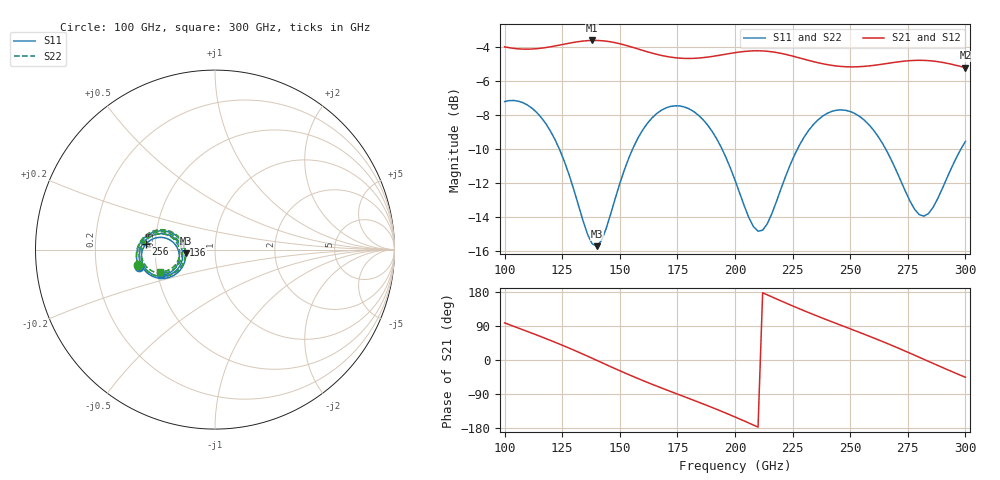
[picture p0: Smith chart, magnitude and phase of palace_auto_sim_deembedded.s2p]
! Created with skrf 1.11.0 (http://scikit-rf.org).
# GHz S DB R 50.0
!freq dBS11 angS11 dBS21 angS21 dBS12 angS12 dBS22 angS22
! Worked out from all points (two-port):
!   101 points, 100 GHz to 300 GHz, reference 50 ohm
!   highest |S21| = -3.61 dB at 138 GHz (marker M1); lowest = -5.2 dB at 300 GHz (marker M2)
!   |S21| within 3 dB of the highest: start of sweep to end of sweep
!   lowest |S11| = -15.7 dB at 140 GHz (marker M3), VSWR 1.39, Z = 36 - j1.56 ohm
!   |S11| at or under -10 dB: 123.8 GHz to 155.5 GHz (31.75 GHz wide, 22.7 % of centre); 194.4 GHz to 227.1 GHz (32.68 GHz wide, 15.5 % of centre); 265.4 GHz to 298 GHz (32.57 GHz wide, 11.6 % of centre)
!   |S22| runs from -15.6 to -7.1 dB; largest |S21 - S12| = 1e-13
!   S11 on the Smith chart (normalised r, x): 100 GHz: 0.40, -0.09; 136 GHz: 0.70, +0.04; 256 GHz: 0.44, +0.03; 300 GHz: 0.52, -0.17
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100  -7.20 -167.5  -3.99 98.0  -3.99 98.0  -7.21 -168.6
108  -7.27 -179.7  -4.12 79.6  -4.12 79.6  -7.27 179.2
118  -8.52 166.5  -4.03 56.3  -4.03 56.3  -8.52 165.3
134  -14.18 165.0  -3.65 15.5  -3.65 15.5  -14.13 163.8
136  -15.00 170.8  -3.63 10.0  -3.63 10.0  -14.93 169.5
138  -15.55 178.5  -3.61 4.6  -3.61 4.6  -15.48 177.1
140  -15.69 -172.6  -3.61 -1.0  -3.61 -1.0  -15.61 -174.2
146  -13.82 -152.2  -3.69 -17.5  -3.69 -17.5  -13.77 -154.1
154  -10.48 -148.8  -3.95 -38.9  -3.95 -38.9  -10.47 -150.7
168  -7.71 -164.4  -4.49 -73.6  -4.49 -73.6  -7.71 -166.4
184  -7.98 174.0  -4.65 -110.8  -4.65 -110.8  -7.98 172.0
200  -11.81 162.8  -4.33 -150.3  -4.33 -150.3  -11.76 160.8
208  -14.54 176.8  -4.22 -171.7  -4.22 -171.7  -14.42 174.5
212  -14.75 -169.3  -4.23 177.5  -4.23 177.5  -14.63 -172.1
222  -11.58 -150.9  -4.43 150.6  -4.43 150.6  -11.54 -154.1
234  -8.55 -158.3  -4.85 120.1  -4.85 120.1  -8.56 -161.6
244  -7.71 -170.3  -5.11 96.3  -5.11 96.3  -7.73 -173.8
256  -8.28 175.3  -5.13 68.2  -5.13 68.2  -8.31 171.7
268  -10.67 166.9  -4.92 38.7  -4.92 38.7  -10.75 163.0
282  -13.93 -172.2  -4.78 1.8  -4.78 1.8  -14.11 -175.8
290  -12.30 -155.3  -4.90 -19.7  -4.90 -19.7  -12.43 -158.6
300  -9.54 -154.7  -5.21 -45.6  -5.21 -45.6  -9.62 -158.1
